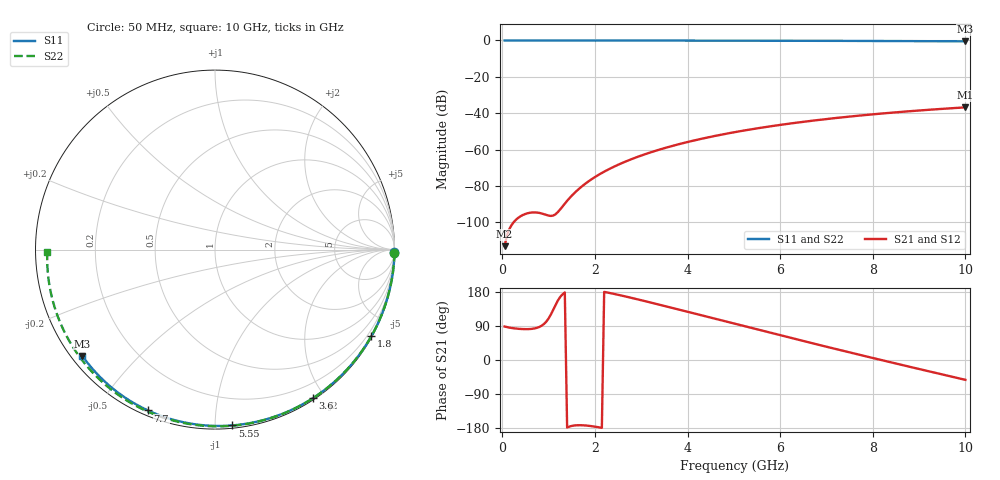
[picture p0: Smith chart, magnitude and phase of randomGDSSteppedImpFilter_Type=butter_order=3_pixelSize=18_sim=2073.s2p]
! freq	dB(S11)	phase(S11)	dB(S12)	phase(S12)
!  dB(S21)	phase(S21)	dB(S22)	phase(S22)
!S-par simulation data
#  GHz  S  DB  R 50
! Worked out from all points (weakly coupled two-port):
!   200 points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, 50 MHz to 10 GHz, reference 50 ohm
!   highest |S21| = -36.76 dB at 10 GHz (marker M1); lowest = -113.0 dB at 50 MHz (marker M2)
!   lowest |S11| = -0.5 dB at 10 GHz (marker M3), VSWR 36.67, Z = 1.53 - j17.5 ohm
!   |S11| at or under -10 dB: nowhere
!   |S22| runs from -0.6 to 0.0 dB; largest |S21 - S12| = 0
!   S11 on the Smith chart (normalised r, x): 50 MHz: open; 1.8 GHz: 0.03, -3.87; 3.6 GHz: 0.02, -1.86; 5.55 GHz: 0.02, -1.10; 7.7 GHz: 0.02, -0.67; 10 GHz: 0.03, -0.35
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0.05  -0.00 -0.8  -113.00 88.4  -113.00 88.4  -0.00 -1.0
0.45  -0.01 -7.4  -95.82 81.5  -95.82 81.5  -0.01 -9.1
0.85  -0.02 -13.8  -95.03 90.5  -95.03 90.5  -0.02 -17.1
1.25  -0.03 -20.3  -92.81 166.3  -92.81 166.3  -0.03 -25.1
1.7  -0.03 -27.4  -80.54 -172.1  -80.54 -172.1  -0.04 -33.9
1.75  -0.04 -28.2  -79.52 -172.4  -79.52 -172.4  -0.04 -34.9
1.8  -0.04 -29.0  -78.54 -172.8  -78.54 -172.8  -0.05 -35.8
2.1  -0.04 -33.7  -73.51 -177.9  -73.51 -177.9  -0.05 -41.6
2.3  -0.05 -36.8  -70.74 177.3  -70.74 177.3  -0.06 -45.5
2.5  -0.05 -39.9  -68.30 172.1  -68.30 172.1  -0.06 -49.3
2.9  -0.06 -46.1  -64.14 160.8  -64.14 160.8  -0.07 -56.8
3.4  -0.07 -53.6  -59.91 145.7  -59.91 145.7  -0.09 -66.0
3.6  -0.08 -56.6  -58.44 139.6  -58.44 139.6  -0.09 -69.7
4.3  -0.09 -66.8  -54.02 117.9  -54.02 117.9  -0.12 -82.2
5.05  -0.12 -77.5  -50.23 94.6  -50.23 94.6  -0.15 -95.2
5.55  -0.14 -84.4  -48.10 79.1  -48.10 79.1  -0.17 -103.7
6.1  -0.16 -91.8  -46.03 62.3  -46.03 62.3  -0.20 -112.9
6.7  -0.19 -99.7  -44.06 44.0  -44.06 44.0  -0.24 -122.8
7.7  -0.26 -112.6  -41.30 14.2  -41.30 14.2  -0.32 -139.3
8.35  -0.31 -120.8  -39.79 -4.9  -39.79 -4.9  -0.38 -150.2
9.2  -0.39 -131.4  -38.10 -29.5  -38.10 -29.5  -0.48 -164.8
10  -0.47 -141.3  -36.76 -52.4  -36.76 -52.4  -0.59 -179.2
